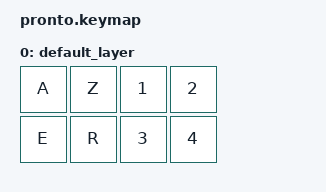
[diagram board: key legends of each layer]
#include <behaviors.dtsi>
#include <dt-bindings/zmk/keys.h>

/ {
    keymap {
        compatible = "zmk,keymap";

        default_layer { // Layer 0
            // -------------------------------------
            // ||     A     |    Z    ||          ||     1     |    2    ||
            // ||    E      |    R    ||          ||     3     |    4    ||


            bindings = <
                &kp A   &kp Z       &kp N1   &kp N2 
                &kp E   &kp R       &kp N3   &kp N4
            >;
        };
    };
 };
